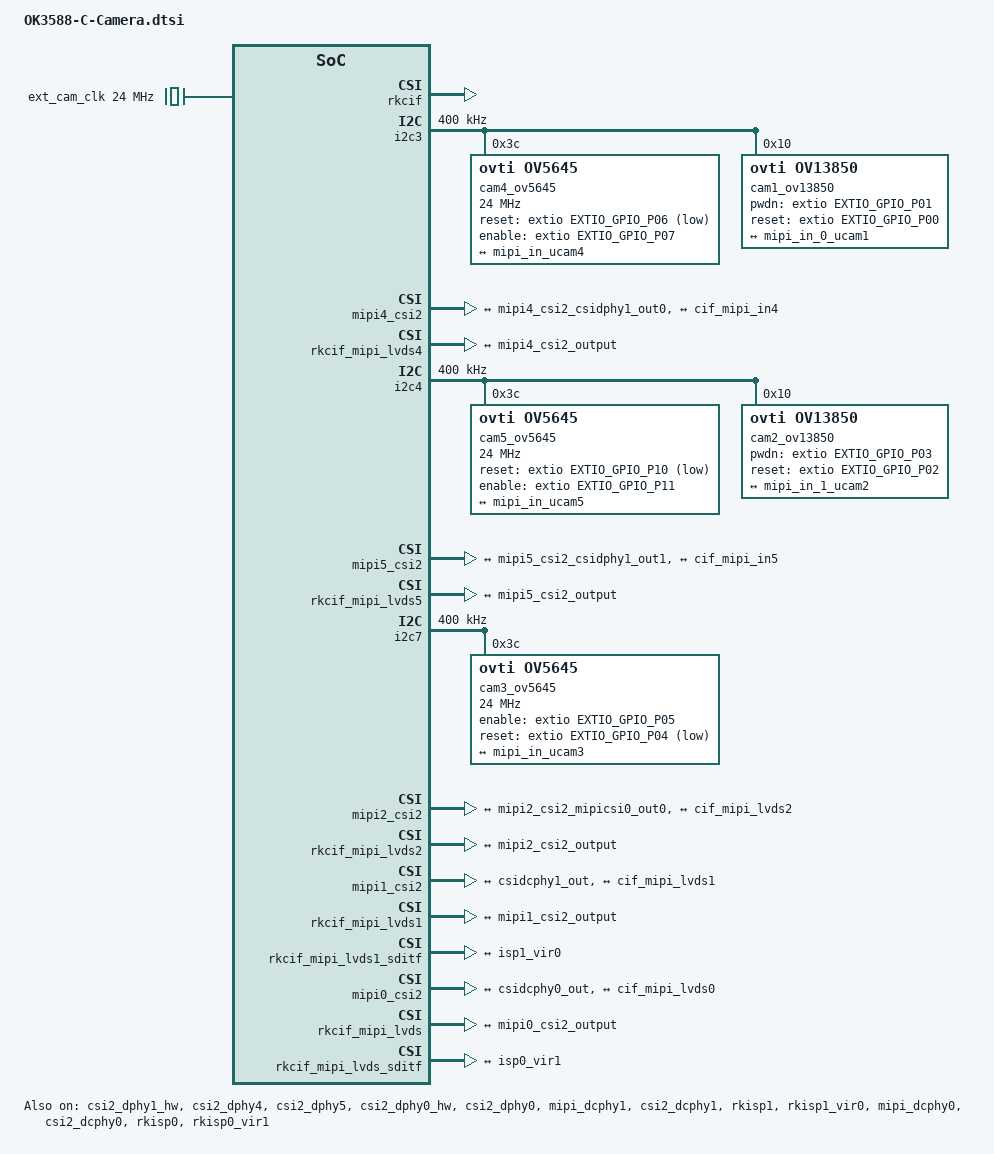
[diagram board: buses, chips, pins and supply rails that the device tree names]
// SPDX-License-Identifier: (GPL-2.0+ OR MIT)
/*
 * Copyright (c) 2022 Forlinx Co., Ltd.
 *
 */

/*
	rkisp0 --> rkisp0_vir0/rkisp0_vir1/rkisp0_vir2/rkisp0_vir3
	rkisp1 --> rkisp1_vir0/rkisp1_vir1/rkisp1_vir2/rkisp1_vir3

	rkcif_mipi_lvds --> rkcif_mipi_lvds[0-4]_sditf

	mipicamera0 --> csi2_dcphy0 --> mipi0_csi2 -->rkcif_mipi_lvds  --> rkcif_mipi_lvds_sditf  -->rkisp0_vir0
	mipicamera1 --> csi2_dcphy1 --> mipi1_csi2 -->rkcif_mipi_lvds1 --> rkcif_mipi_lvds1_sditf --> rkisp0_vir1
	
	csi2_dphy0 or (csi2_dphy1、csi2_dphy2)	dphy0
	csi2_dphy3 or (csi2_dphy4、csi2_dphy5)	dphy1

	mipicamera2 --> csi2_dphy0 -->  mipi2_csi2 -->rkcif_mipi_lvds2 -->rkcif_mipi_lvds2_sditf  --> rkisp0_vir2
	mipicamera3 --> csi2_dphy1 -->  mipi3_csi2 -->rkcif_mipi_lvds3 -->rkcif_mipi_lvds3_sditf  --> rkisp1_vir0
	mipicamera4 --> csi2_dphy2 -->  mipi4_csi2 -->rkcif_mipi_lvds4 -->rkcif_mipi_lvds4_sditf  --> rkisp1_vir1
	mipicamera5 --> csi2_dphy3 -->  mipi5_csi2 -->rkcif_mipi_lvds5 -->rkcif_mipi_lvds5_sditf  --> rkisp1_vir2

	mipicamera6 --> rkcif_dvp ---> rkcif_dvp_sditf
 */

/ {
	ext_cam_clk: external-camera-clock {
        compatible = "fixed-clock";
        clock-frequency = <24000000>;
        clock-output-names = "CLK_CAMERA_24MHZ";
        #clock-cells = <0>;
    };
};

&rkcif {
    status = "okay";
};

&rkcif_mmu {
    status = "okay";
};


// OV5645 Configuration Description
&i2c3 {
	status = "okay";
	
	cam4_ov5645: cam4_ov5645@3c {
        status = "okay";
        compatible = "ovti,ov5645";
        reg = <0x3c>;
        clocks = <&ext_cam_clk>;
        clock-names = "xclk";
        clock-frequency = <24000000>;

        reset-gpios = <&extio EXTIO_GPIO_P06 GPIO_ACTIVE_LOW>;
        enable-gpios = <&extio EXTIO_GPIO_P07 GPIO_ACTIVE_HIGH>;

        rockchip,camera-module-index = <1>;
        rockchip,camera-module-facing = "front";
        rockchip,camera-module-name = "NC";
        rockchip,camera-module-lens-name = "NC";
        port {
            cam4_ov5645_out: endpoint {
                remote-endpoint = <&mipi_in_ucam4>;
                data-lanes = <1 2>;
            };
        };
    };
};

&csi2_dphy1_hw {
    status = "okay";
};

&csi2_dphy4 {
    status = "okay";
    ports {
        #address-cells = <1>;
        #size-cells = <0>;
        port@0 {
            reg = <0>;
            #address-cells = <1>;
            #size-cells = <0>;
            mipi_in_ucam4: endpoint@1 {
                reg = <1>;
                remote-endpoint = <&cam4_ov5645_out>;
                data-lanes = <1 2>;
            };
        };
        port@1 {
            reg = <1>;
            #address-cells = <1>;
            #size-cells = <0>;
            mipi4_csi2_csidphy1_out0: endpoint@0 {
                reg = <0>;
                remote-endpoint = <&mipi4_csi2_input>;
            };
        };
    };
};

&mipi4_csi2 {
    status = "okay";
    ports {
        #address-cells = <1>;
        #size-cells = <0>;
        port@0 {
            reg = <0>;
            #address-cells = <1>;
            #size-cells = <0>;
            mipi4_csi2_input: endpoint@1 {
                reg = <1>;
                remote-endpoint = <&mipi4_csi2_csidphy1_out0>;
            };
        };
        port@1 {
            reg = <1>;
            #address-cells = <1>;
            #size-cells = <0>;
            mipi4_csi2_output: endpoint@0 {
                reg = <0>;
                remote-endpoint = <&cif_mipi_in4>;
            };
        };
    };
};

&rkcif_mipi_lvds4 {
    status = "okay";
    port {
        cif_mipi_in4: endpoint {
            remote-endpoint = <&mipi4_csi2_output>;
        };
    };
};

&rkcif_mipi_lvds4_sditf {
    status = "disabled";
};

&i2c4 {
	status = "okay";
	
	cam5_ov5645: cam5_ov5645@3c {
        status = "okay";
        compatible = "ovti,ov5645";
        reg = <0x3c>;
        clocks = <&ext_cam_clk>;
        clock-names = "xclk";
        clock-frequency = <24000000>;

        reset-gpios = <&extio EXTIO_GPIO_P10 GPIO_ACTIVE_LOW>;
        enable-gpios = <&extio EXTIO_GPIO_P11 GPIO_ACTIVE_HIGH>;

        rockchip,camera-module-index = <2>;
        rockchip,camera-module-facing = "front";
        rockchip,camera-module-name = "NC";
        rockchip,camera-module-lens-name = "NC";
        port {
            cam5_ov5645_out: endpoint {
                remote-endpoint = <&mipi_in_ucam5>;
                data-lanes = <1 2>;
            };
        };
    };
};
&csi2_dphy5 {
    status = "okay";
    ports {
        #address-cells = <1>;
        #size-cells = <0>;
        port@0 {
            reg = <0>;
            #address-cells = <1>;
            #size-cells = <0>;
            mipi_in_ucam5: endpoint@1 {
                reg = <1>;
                remote-endpoint = <&cam5_ov5645_out>;
                data-lanes = <1 2>;
            };
        };
        port@1 {
            reg = <1>;
            #address-cells = <1>;
            #size-cells = <0>;
			mipi5_csi2_csidphy1_out1: endpoint@0 {
                reg = <0>;
                remote-endpoint = <&mipi5_csi2_input>;
            };
        };
    };
};

&mipi5_csi2 {
    status = "okay";
    ports {
        #address-cells = <1>;
        #size-cells = <0>;
        port@0 {
            reg = <0>;
            #address-cells = <1>;
            #size-cells = <0>;
            mipi5_csi2_input: endpoint@1 {
                reg = <1>;
                remote-endpoint = <&mipi5_csi2_csidphy1_out1>;
            };
        };
        port@1 {
            reg = <1>;
            #address-cells = <1>;
            #size-cells = <0>;
            mipi5_csi2_output: endpoint@0 {
                reg = <0>;
                remote-endpoint = <&cif_mipi_in5>;
            };
        };
    };
};

&rkcif_mipi_lvds5 {
    status = "okay";
    port {
        cif_mipi_in5: endpoint {
            remote-endpoint = <&mipi5_csi2_output>;
        };
    };
};

&rkcif_mipi_lvds5_sditf {
	status = "disabled";
};

&i2c7 {
    status = "okay";
	clock-frequency = <400000>;

	cam3_ov5645: cam3_ov5645@3c {
		compatible = "ovti,ov5645";
        status = "okay";
        reg = <0x3c>;

		clocks = <&ext_cam_clk>;
        clock-names = "xclk";
		clock-frequency = <24000000>;

        enable-gpios = <&extio EXTIO_GPIO_P05 GPIO_ACTIVE_HIGH>;
        reset-gpios = <&extio EXTIO_GPIO_P04 GPIO_ACTIVE_LOW>;
        rockchip,camera-module-index = <0>;
        rockchip,camera-module-facing = "back";
        rockchip,camera-module-name = "NC";
        rockchip,camera-module-lens-name = "NC"; 

        port {
            cam3_ov5645_out: endpoint {
                remote-endpoint = <&mipi_in_ucam3>;
                data-lanes = <1 2>;
            };
        };
    };
};

&csi2_dphy0_hw {
    status = "okay";
};

&csi2_dphy0 {
    status = "okay";
    ports {
        #address-cells = <1>;
        #size-cells = <0>;
        port@0 {
            reg = <0>;
            #address-cells = <1>;
            #size-cells = <0>;
            mipi_in_ucam3: endpoint@1 {
                reg = <1>;
                remote-endpoint = <&cam3_ov5645_out>;
                data-lanes = <1 2>;
            };
        };
        port@1 {
            reg = <1>;
            #address-cells = <1>;
            #size-cells = <0>;
            mipi2_csi2_mipicsi0_out0: endpoint@0 {
                reg = <0>;
                remote-endpoint = <&mipi2_csi2_input>;
            };
        };
    };
};

&mipi2_csi2 {
	status = "okay";
    ports {
        #address-cells = <1>;
        #size-cells = <0>;
        port@0 {
            reg = <0>;
            #address-cells = <1>;
            #size-cells = <0>;
            mipi2_csi2_input: endpoint@1 {
                reg = <1>;
                remote-endpoint = <&mipi2_csi2_mipicsi0_out0>;
            };
        };
        port@1 {
            reg = <1>;
            #address-cells = <1>;
            #size-cells = <0>;
            mipi2_csi2_output: endpoint@0 {
                reg = <0>;
                remote-endpoint = <&cif_mipi_lvds2>;
            };
        };
    };
};

&rkcif_mipi_lvds2 {
    status = "okay";
    port {
        cif_mipi_lvds2: endpoint {
            remote-endpoint = <&mipi2_csi2_output>;
        };
    };
};

&rkcif_mipi_lvds2_sditf {
    status = "disabled";
};

// OV13850 Configuration description
&i2c3 {
    status = "okay";
	clock-frequency = <400000>;

	cam1_ov13850: cam1_ov13850@10 {
		compatible = "ovti,ov13850";
        status = "okay";
        reg = <0x10>;

		clocks = <&ext_cam_clk>;
        clock-names = "xvclk";

        pwdn-gpios = <&extio EXTIO_GPIO_P01 GPIO_ACTIVE_HIGH>;
        reset-gpios = <&extio EXTIO_GPIO_P00 GPIO_ACTIVE_HIGH>;
        rockchip,camera-module-index = <0>;
        rockchip,camera-module-facing = "back";
        rockchip,camera-module-name = "forlinx";
        rockchip,camera-module-lens-name = "default"; 

        port {
            cam1_ov13850_out: endpoint {
                remote-endpoint = <&mipi_in_0_ucam1>;
                data-lanes = <1 2>;
            };
        };
    };
};

&i2c4 {
    status = "okay";
	clock-frequency = <400000>;

	cam2_ov13850: cam2_ov13850@10 {
		compatible = "ovti,ov13850";
        status = "okay";
        reg = <0x10>;

		clocks = <&ext_cam_clk>;
        clock-names = "xvclk";

        pwdn-gpios = <&extio EXTIO_GPIO_P03 GPIO_ACTIVE_HIGH>;
        reset-gpios = <&extio EXTIO_GPIO_P02 GPIO_ACTIVE_HIGH>;
        rockchip,camera-module-index = <1>;
        rockchip,camera-module-facing = "front";
        rockchip,camera-module-name = "forlinx";
        rockchip,camera-module-lens-name = "default"; 

        port {
            cam2_ov13850_out: endpoint {
                remote-endpoint = <&mipi_in_1_ucam2>;
                data-lanes = <1 2>;
            };
        };
    };
};

&mipi_dcphy1 {
	status = "okay";
};

&csi2_dcphy1 {
    status = "okay";
    ports {
        #address-cells = <1>;
        #size-cells = <0>;
        port@0 {
            reg = <0>;
            #address-cells = <1>;
            #size-cells = <0>;
            mipi_in_1_ucam2: endpoint@1 {
                reg = <1>;
                remote-endpoint = <&cam2_ov13850_out>;
                data-lanes = <1 2>;
            };
        };
        port@1 {
            reg = <1>;
            #address-cells = <1>;
            #size-cells = <0>;
            csidcphy1_out: endpoint@0 {
                reg = <0>;
                remote-endpoint = <&mipi1_csi2_input>;
            };
        };
    };
};

&mipi1_csi2 {
    status = "okay";
    ports {
        #address-cells = <1>;
        #size-cells = <0>;
        port@0 {
            reg = <0>;
            #address-cells = <1>;
            #size-cells = <0>;
            mipi1_csi2_input: endpoint@1 {
                reg = <1>;
                remote-endpoint = <&csidcphy1_out>;
            };
        };
        port@1 {
            reg = <1>;
            #address-cells = <1>;
            #size-cells = <0>;
            mipi1_csi2_output: endpoint@0 {
                reg = <0>;
                remote-endpoint = <&cif_mipi_lvds1>;
            };
        };
    };
};

&rkcif_mipi_lvds1 {
    status = "okay";
    port {
        cif_mipi_lvds1: endpoint {
            remote-endpoint = <&mipi1_csi2_output>;
        };
    };
};

&rkcif_mipi_lvds1_sditf {
    status = "okay";
	port {
        mipi_lvds1_sditf: endpoint {
            remote-endpoint = <&isp1_vir0>;
        };
    };
};

&rkisp1 {
    status = "okay";
};

&isp1_mmu {
    status = "okay";
};

&rkisp1_vir0 {
	status = "okay";
    port {
        #address-cells = <1>;
        #size-cells = <0>;
        isp1_vir0: endpoint@0 {
            reg = <0>;
            remote-endpoint = <&mipi_lvds1_sditf>;
        };
    };
};

&mipi_dcphy0 {
	status = "okay";
};

&csi2_dcphy0 {
    status = "okay";
    ports {
        #address-cells = <1>;
        #size-cells = <0>;
        port@0 {
            reg = <0>;
            #address-cells = <1>;
            #size-cells = <0>;
            mipi_in_0_ucam1: endpoint@1 {
                reg = <1>;
                remote-endpoint = <&cam1_ov13850_out>;
                data-lanes = <1 2>;
            };
        };
        port@1 {
            reg = <1>;
            #address-cells = <1>;
            #size-cells = <0>;
            csidcphy0_out: endpoint@0 {
                reg = <0>;
                remote-endpoint = <&mipi0_csi2_input>;
            };
        };
    };
};

&mipi0_csi2 {
    status = "okay";
    ports {
        #address-cells = <1>;
        #size-cells = <0>;
        port@0 {
            reg = <0>;
            #address-cells = <1>;
            #size-cells = <0>;
            mipi0_csi2_input: endpoint@1 {
                reg = <1>;
                remote-endpoint = <&csidcphy0_out>;
            };
        };
        port@1 {
            reg = <1>;
            #address-cells = <1>;
            #size-cells = <0>;
            mipi0_csi2_output: endpoint@0 {
                reg = <0>;
                remote-endpoint = <&cif_mipi_lvds0>;
            };
        };
    };
};

&rkcif_mipi_lvds {
    status = "okay";
    port {
        cif_mipi_lvds0: endpoint {
            remote-endpoint = <&mipi0_csi2_output>;
        };
    };
};

&rkcif_mipi_lvds_sditf {
    status = "okay";
    port {
        mipi_lvds_sditf: endpoint {
            remote-endpoint = <&isp0_vir1>;
        };
    };
};

&rkisp0 {
    status = "okay";
};

&isp0_mmu {
    status = "okay";
};

&rkisp0_vir1 {
	status = "okay";
    port {
        #address-cells = <1>;
        #size-cells = <0>;
        isp0_vir1: endpoint@0 {
            reg = <0>;
            remote-endpoint = <&mipi_lvds_sditf>;
        };
    };
};



